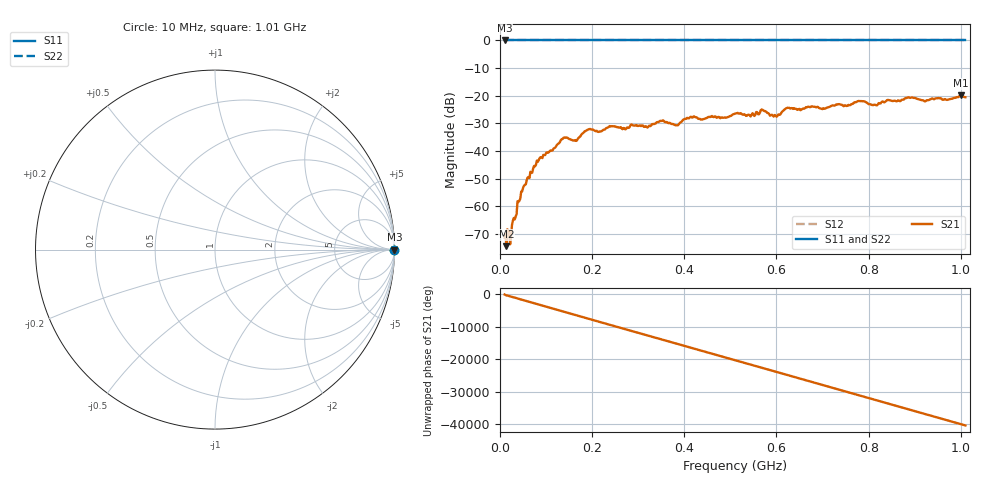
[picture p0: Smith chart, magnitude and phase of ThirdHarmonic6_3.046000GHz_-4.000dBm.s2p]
! 8/17/2025 8:50:02 AM
! C:\ANRITSUVNA\TEMP\TEMP.S2P
! CHANNEL.1
! TR.MEASUREMENT
! RAW.DATA
! RF.CORRECTION.OFF
! AVERAGING.OFF
! IF.BANDWIDTH: 5KHZ
! SWEEPTYPE:  FREQ.SWEEP(Linear)
! Reference Plane Port Info
! PORT:  PORT1  PORT2
! DISTANCE:  0  m  0  m
! TIME:  0  s  0  s
! PHASE.OFFSET:  0  deg.  0  deg.
! LOSS:  0  dB  0  dB
! REF.LOSS:  0  dB  0  dB
! REF.FREQ:  0  Hz  0  Hz
! Power Info
! POWER:  -20  dBm  -20  dBm
! EFF.POWER:  -20  dBm  -20  dBm
! SOURCE.ATTEN:  0  dB  0  dB
! TEST.ATTEN:  0  dB  0  dB
# GHZ S RI R 50.0
! FREQ.GHZ  S11RE  S11IM  S21RE  S21IM  S12RE  S12IM  S22RE  S22IM
!; PortSelection: Port_12
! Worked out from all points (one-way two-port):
!   501 points, 10 MHz to 1.01 GHz, reference 50 ohm
!   highest |S21| = -19.88 dB at 1 GHz (marker M1); lowest = -74.3 dB at 14 MHz (marker M2)
!   lowest |S11| = 0.0 dB at 10 MHz (marker M3)
!   |S11| at or under -10 dB: nowhere
!   |S22| runs from 0.0 to 0.0 dB; largest |S21 - S12| = 1.1
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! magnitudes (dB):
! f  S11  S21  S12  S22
! 10 MHz  0.0  -71.3  0.0  0.0
! 14 MHz  0.0  -74.3  0.0  0.0
! 26 MHz  0.0  -66.7  0.0  0.0
! 50 MHz  0.0  -53.3  0.0  0.0
! 84 MHz  0.0  -43.3  0.0  0.0
! 136 MHz  0.0  -35.6  0.0  0.0
! 164 MHz  0.0  -36.0  0.0  0.0
! 178 MHz  0.0  -33.8  0.0  0.0
! 194 MHz  0.0  -32.0  0.0  0.0
! 318 MHz  0.0  -31.2  0.0  0.0
! 344 MHz  0.0  -29.5  0.0  0.0
! 384 MHz  0.0  -30.6  0.0  0.0
! 416 MHz  0.0  -27.8  0.0  0.0
! 510 MHz  0.0  -26.4  0.0  0.0
! 570 MHz  0.0  -25.1  0.0  0.0
! 598 MHz  0.0  -27.1  0.0  0.0
! 624 MHz  0.0  -24.3  0.0  0.0
! 678 MHz  0.0  -23.8  0.0  0.0
! 814 MHz  0.0  -23.2  0.0  0.0
! 844 MHz  0.0  -21.6  0.0  0.0
! 1 GHz  0.0  -19.9  0.0  0.0
! 1.01 GHz  0.0  -20.5  0.0  0.0
